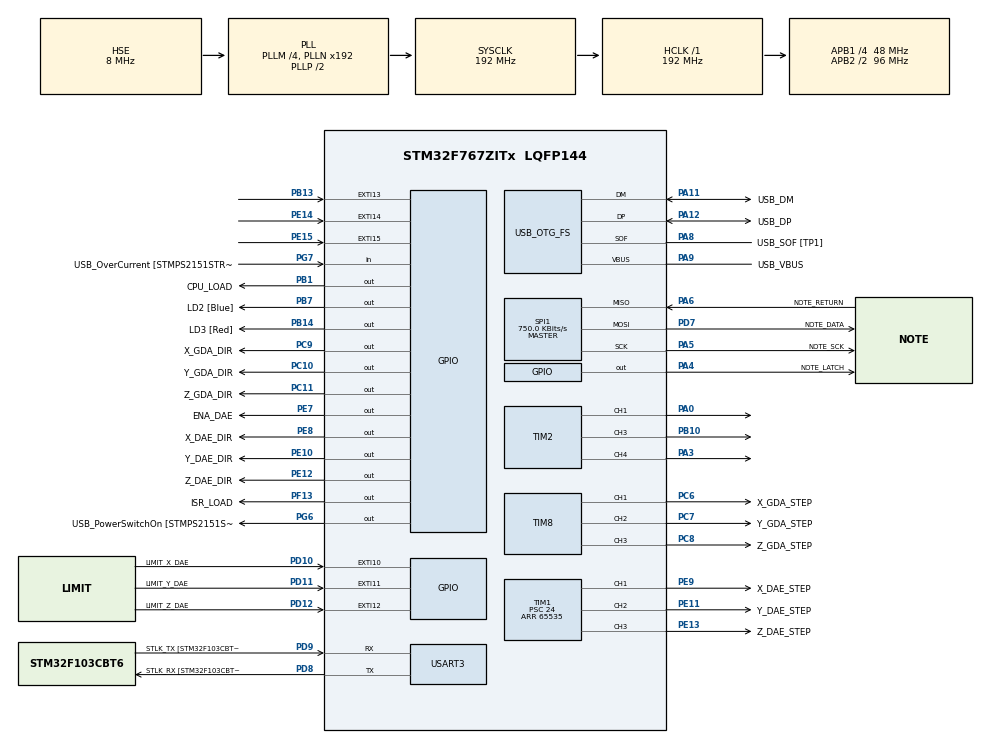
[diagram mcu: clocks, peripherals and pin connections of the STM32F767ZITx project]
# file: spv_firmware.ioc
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Mcu.Family=STM32F7
Mcu.Name=STM32F767ZITx
Mcu.Package=LQFP144
NVIC.EXTI15_10_IRQn=true\:0\:0\:false\:false\:true\:true\:true
NVIC.OTG_FS_IRQn=true\:0\:0\:false\:false\:true\:false\:true
NVIC.PriorityGroup=NVIC_PRIORITYGROUP_4
NVIC.TIM1_CC_IRQn=true\:0\:0\:false\:false\:true\:true\:true
NVIC.TIM1_UP_TIM10_IRQn=true\:0\:0\:false\:false\:true\:true\:true
PA0/WKUP.Signal=S_TIM2_CH1_ETR
PA1.GPIO_Label=RMII_REF_CLK [LAN8742A-CZ-TR_REFCLK0]
PA1.Signal=ETH_REF_CLK
PA10.GPIO_Label=USB_ID
PA10.Signal=USB_OTG_FS_ID
PA11.GPIO_Label=USB_DM
PA11.Mode=Device_Only
PA11.Signal=USB_OTG_FS_DM
PA12.GPIO_Label=USB_DP
PA12.Mode=Device_Only
PA12.Signal=USB_OTG_FS_DP
PA13.GPIO_Label=TMS
PA13.Mode=Serial_Wire
PA13.Signal=SYS_JTMS-SWDIO
PA14.GPIO_Label=TCK
PA14.Mode=Serial_Wire
PA14.Signal=SYS_JTCK-SWCLK
PA2.GPIO_Label=RMII_MDIO [LAN8742A-CZ-TR_MDIO]
PA2.Signal=ETH_MDIO
PA3.Signal=S_TIM2_CH4
PA4.GPIO_Label=NOTE_LATCH
PA4.Signal=GPIO_Output
PA5.GPIO_Label=NOTE_SCK
PA5.GPIO_Speed=GPIO_SPEED_FREQ_MEDIUM
PA5.Mode=Full_Duplex_Master
PA5.Signal=SPI1_SCK
PA6.GPIO_Label=NOTE_RETURN
PA6.GPIO_Speed=GPIO_SPEED_FREQ_MEDIUM
PA6.Mode=Full_Duplex_Master
PA6.Signal=SPI1_MISO
PA7.GPIO_Label=RMII_CRS_DV [LAN8742A-CZ-TR_CRS_DV]
PA7.Signal=ETH_CRS_DV
PA8.GPIO_Label=USB_SOF [TP1]
PA8.Mode=Activate_SOF_FS
PA8.Signal=USB_OTG_FS_SOF
PA9.GPIO_Label=USB_VBUS
PA9.Mode=Activate_VBUS
PA9.Signal=USB_OTG_FS_VBUS
PB1.GPIO_Label=CPU_LOAD
PB1.Signal=GPIO_Output
PB10.Signal=S_TIM2_CH3
PB13.Signal=GPXTI13
PB14.GPIO_Label=LD3 [Red]
PB14.Signal=GPIO_Output
PB3.GPIO_Label=SWO
PB3.Signal=SYS_JTDO-SWO
PB7.GPIO_Label=LD2 [Blue]
PB7.Signal=GPIO_Output
PC1.GPIO_Label=RMII_MDC [LAN8742A-CZ-TR_MDC]
PC1.Signal=ETH_MDC
PC10.GPIO_Label=Y_GDA_DIR
PC10.Signal=GPIO_Output
PC11.GPIO_Label=Z_GDA_DIR
PC11.Signal=GPIO_Output
PC14/OSC32_IN.Mode=LSE-External-Oscillator
PC14/OSC32_IN.Signal=RCC_OSC32_IN
PC15/OSC32_OUT.Mode=LSE-External-Oscillator
PC15/OSC32_OUT.Signal=RCC_OSC32_OUT
PC4.GPIO_Label=RMII_RXD0 [LAN8742A-CZ-TR_RXD0]
PC4.Signal=ETH_RXD0
PC5.GPIO_Label=RMII_RXD1 [LAN8742A-CZ-TR_RXD1]
PC5.Signal=ETH_RXD1
PC6.GPIO_Label=X_GDA_STEP
PC6.Signal=S_TIM8_CH1
PC7.GPIO_Label=Y_GDA_STEP
PC7.Signal=S_TIM8_CH2
PC8.GPIO_Label=Z_GDA_STEP
PC8.Signal=S_TIM8_CH3
PC9.GPIO_Label=X_GDA_DIR
PC9.Signal=GPIO_Output
PD10.GPIO_Label=LIMIT_X_DAE
PD10.GPIO_ModeDefaultEXTI=GPIO_MODE_IT_FALLING
PD10.Signal=GPXTI10
PD11.GPIO_Label=LIMIT_Y_DAE
PD11.GPIO_ModeDefaultEXTI=GPIO_MODE_IT_FALLING
PD11.Signal=GPXTI11
PD12.GPIO_Label=LIMIT_Z_DAE
PD12.GPIO_ModeDefaultEXTI=GPIO_MODE_IT_FALLING
PD12.Signal=GPXTI12
PD7.GPIO_Label=NOTE_DATA
PD7.GPIO_Speed=GPIO_SPEED_FREQ_MEDIUM
PD7.Mode=Full_Duplex_Master
PD7.Signal=SPI1_MOSI
PD8.GPIO_Label=STLK_RX [STM32F103CBT6_PA3]
PD8.GPIO_Speed=GPIO_SPEED_FREQ_MEDIUM
PD8.Mode=Asynchronous
PD8.Signal=USART3_TX
PD9.GPIO_Label=STLK_TX [STM32F103CBT6_PA2]
PD9.GPIO_Speed=GPIO_SPEED_FREQ_MEDIUM
PD9.Mode=Asynchronous
PD9.Signal=USART3_RX
PE10.GPIO_Label=Y_DAE_DIR
PE10.GPIO_Speed=GPIO_SPEED_FREQ_MEDIUM
PE10.Signal=GPIO_Output
PE11.GPIO_Label=Y_DAE_STEP
PE11.GPIO_Speed=GPIO_SPEED_FREQ_MEDIUM
PE11.Signal=S_TIM1_CH2
PE12.GPIO_Label=Z_DAE_DIR
PE12.Signal=GPIO_Output
PE13.GPIO_Label=Z_DAE_STEP
PE13.GPIO_Speed=GPIO_SPEED_FREQ_MEDIUM
PE13.Signal=S_TIM1_CH3
PE14.Signal=GPXTI14
PE15.Signal=GPXTI15
PE7.GPIO_Label=ENA_DAE
PE7.Signal=GPIO_Output
PE8.GPIO_Label=X_DAE_DIR
PE8.GPIO_Speed=GPIO_SPEED_FREQ_MEDIUM
PE8.Signal=GPIO_Output
PE9.GPIO_Label=X_DAE_STEP
PE9.GPIO_Speed=GPIO_SPEED_FREQ_MEDIUM
PE9.Signal=S_TIM1_CH1
PF13.GPIO_Label=ISR_LOAD
PF13.Signal=GPIO_Output
PG11.GPIO_Label=RMII_TX_EN [LAN8742A-CZ-TR_TXEN]
PG11.Signal=ETH_TX_EN
PG13.GPIO_Label=RMII_TXD0 [LAN8742A-CZ-TR_TXD0]
PG13.Signal=ETH_TXD0
PG6.GPIO_Label=USB_PowerSwitchOn [STMPS2151STR_EN]
PG6.Signal=GPIO_Output
PG7.GPIO_Label=USB_OverCurrent [STMPS2151STR_FAULT]
PG7.Signal=GPIO_Input
PH0/OSC_IN.GPIO_Label=MCO [STM32F103CBT6_PA8]
PH0/OSC_IN.Mode=HSE-External-Clock-Source
PH0/OSC_IN.Signal=RCC_OSC_IN
PH1/OSC_OUT.Mode=HSE-External-Clock-Source
PH1/OSC_OUT.Signal=RCC_OSC_OUT
ProjectManager.HeapSize=0x200
ProjectManager.StackSize=0x400
ProjectManager.TargetToolchain=TrueSTUDIO
RCC.48MHZClocksFreq_Value=24000000
RCC.AHBFreq_Value=192000000
RCC.APB1CLKDivider=RCC_HCLK_DIV4
RCC.APB1Freq_Value=48000000
RCC.APB1TimFreq_Value=96000000
RCC.APB2CLKDivider=RCC_HCLK_DIV2
RCC.APB2Freq_Value=96000000
RCC.APB2TimFreq_Value=192000000
RCC.CortexFreq_Value=192000000
RCC.HCLKFreq_Value=192000000
RCC.HSE_VALUE=8000000
RCC.HSI_VALUE=16000000
RCC.PLLM=4
RCC.PLLMUL=RCC_PLL_MUL9
RCC.PLLQ=8
RCC.PRESCALERUSB=RCC_USBCLKSOURCE_PLL_DIV1_5
RCC.SYSCLKFreq_VALUE=192000000
RCC.SYSCLKSource=RCC_SYSCLKSOURCE_PLLCLK
RCC.SYSCLKSourceVirtual=RCC_SYSCLKSOURCE_PLLCLK
RCC.USBFreq_Value=48000000
RCC.VCOOutputFreq_Value=384000000
SH.S_TIM1_CH1.0=TIM1_CH1,Output Compare1 CH1
SH.S_TIM1_CH2.0=TIM1_CH2,Output Compare2 CH2
SH.S_TIM1_CH3.0=TIM1_CH3,Output Compare3 CH3
SH.S_TIM2_CH1_ETR.0=TIM2_CH1,Output Compare1 CH1
SH.S_TIM2_CH3.0=TIM2_CH3,Output Compare3 CH3
SH.S_TIM2_CH4.0=TIM2_CH4,Output Compare4 CH4
SH.S_TIM8_CH1.0=TIM8_CH1,Output Compare1 CH1
SH.S_TIM8_CH2.0=TIM8_CH2,Output Compare2 CH2
SH.S_TIM8_CH3.0=TIM8_CH3,Output Compare3 CH3
SPI1.BaudRatePrescaler=SPI_BAUDRATEPRESCALER_128
SPI1.CalculateBaudRate=750.0 KBits/s
SPI1.DataSize=SPI_DATASIZE_8BIT
SPI1.Direction=SPI_DIRECTION_2LINES
SPI1.Mode=SPI_MODE_MASTER
SPI1.VirtualType=VM_MASTER
TIM1.Channel-Output\ Compare1\ CH1=TIM_CHANNEL_1
TIM1.Channel-Output\ Compare2\ CH2=TIM_CHANNEL_2
TIM1.Channel-Output\ Compare3\ CH3=TIM_CHANNEL_3
TIM1.OCMode_1=TIM_OCMODE_FORCED_INACTIVE
TIM1.OCMode_2=TIM_OCMODE_FORCED_INACTIVE
TIM1.OCMode_3=TIM_OCMODE_FORCED_INACTIVE
TIM1.OCPolarity_1=TIM_OCPOLARITY_HIGH
TIM1.Period=65535
TIM1.Prescaler=24
TIM1.Pulse-Output\ Compare1\ CH1=1
TIM1.Pulse-Output\ Compare2\ CH2=1
TIM1.Pulse-Output\ Compare3\ CH3=1
TIM10.AutoReloadPreload=TIM_AUTORELOAD_PRELOAD_ENABLE
TIM10.Period=1000
TIM10.Prescaler=192
TIM2.Channel-Output\ Compare1\ CH1=TIM_CHANNEL_1
TIM2.Channel-Output\ Compare3\ CH3=TIM_CHANNEL_3
TIM2.Channel-Output\ Compare4\ CH4=TIM_CHANNEL_4
TIM8.Channel-Output\ Compare1\ CH1=TIM_CHANNEL_1
TIM8.Channel-Output\ Compare2\ CH2=TIM_CHANNEL_2
TIM8.Channel-Output\ Compare3\ CH3=TIM_CHANNEL_3
USART3.VirtualMode-Asynchronous=VM_ASYNC
USB_DEVICE.APP_RX_DATA_SIZE-CDC_FS=128
USB_DEVICE.CLASS_NAME_FS=CDC
USB_DEVICE.MANUFACTURER_STRING-CDC_FS=SPV group
USB_DEVICE.PRODUCT_STRING_CDC_FS=Self-playing violin
USB_DEVICE.VirtualMode-CDC_FS=Cdc
USB_DEVICE.VirtualModeFS=Cdc_FS
USB_OTG_FS.VirtualMode=Device_Only
VP_TIM10_VS_ClockSourceINT.Mode=Enable_Timer
VP_TIM1_VS_ClockSourceINT.Mode=Internal
VP_USB_DEVICE_VS_USB_DEVICE_CDC_FS.Mode=CDC_FS
board=NUCLEO-F767ZI

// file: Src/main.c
/* USER CODE BEGIN Header */
/**
 *
 *  @file main.c
 *  @brief main program of selfplaying-violin project
 *
 *  Be careful: This file is generated by CubeMX, so in case
 *  of recreation all changes which are not between USER CODE
 *  markers will be deleted!
 *
 *  @author SPV Team
	@date March 19th, 2019

  ******************************************************************************
  * @file           : main.c
  * @brief          : Main program body
  ******************************************************************************
  * @attention
  *
  * <h2><center>&copy; Copyright (c) 2019 STMicroelectronics.
  * All rights reserved.</center></h2>
  *
  * This software component is licensed by ST under Ultimate Liberty license
  * SLA0044, the "License"; You may not use this file except in compliance with
  * the License. You may obtain a copy of the License at:
  *                             www.st.com/SLA0044
  *
  ******************************************************************************
  */
/* USER CODE END Header */

#include "main.h"
#include "usb_device.h"

/* USER CODE BEGIN Includes */
#include <string.h>
#include <stdio.h>
#include "usb_cdc_comm.h"
#include "debug_tools.h"
#include "step_generation.h"
#include "motor_control.h"
#include "notes.h"
#include "channels.h"
#include "timekeeper.h"
#include <math.h>
#include "communication.h"

/* USER CODE END Includes */

SPI_HandleTypeDef hspi1;

TIM_HandleTypeDef htim1;
TIM_HandleTypeDef htim2;
TIM_HandleTypeDef htim8;
TIM_HandleTypeDef htim10;

UART_HandleTypeDef huart3;

void SystemClock_Config(void);
static void MX_GPIO_Init(void);
static void MX_TIM1_Init(void);
static void MX_USART3_UART_Init(void);
static void MX_SPI1_Init(void);
static void MX_GFXSIMULATOR_Init(void);
static void MX_TIM8_Init(void);
static void MX_TIM2_Init(void);
static void MX_TIM10_Init(void);

int main(void)
{

  /* MCU Configuration--------------------------------------------------------*/

  /* Reset of all peripherals, Initializes the Flash interface and the Systick. */
  HAL_Init();

  /* Configure the system clock */
  SystemClock_Config();

  /* Initialize all configured peripherals */
  MX_GPIO_Init();
  MX_TIM1_Init();
  MX_USART3_UART_Init();
  MX_USB_DEVICE_Init();
  MX_SPI1_Init();
  MX_GFXSIMULATOR_Init();
  MX_TIM8_Init();
  MX_TIM2_Init();
  MX_TIM10_Init();
  /* USER CODE BEGIN 2 */

  /*
   * Put all sorts of user inits here
   */

  USB_CDC_Init();

  //debug_start_motor_tracking();

  TK_startTimer();

  CHA_Init();

  SM_Init();

  notes_init();

  dbgprintf("SPV ready and initialized.");

  /* USER CODE END 2 */

  /* Infinite loop */
  /* USER CODE BEGIN WHILE */
  //int32_t wait_delay = 0;
  int32_t run1 = 0, run2 = 0, run3 = 0;
  while (1)
  {

	  run1 |= SM_updateMotor(&x_dae_motor, &cha_posx_dae);
	  run2 |= SM_updateMotor(&y_dae_motor, &cha_posy_dae);
	  run3 |= SM_updateMotor(&z_dae_motor, &cha_str_dae);

	  COM_update();

	  //toggle_debug_led();
	  //notes_e_set(cycle_number%8, 1);

	  if (run1 != 0 && run2 != 0 && run3 != 0)
	  {
		 /* run1 = 0;
		  run2 = 0;
		  run3 = 0;
		  for (wait_delay=0; wait_delay < 2000; wait_delay++)
		  {
			  HAL_Delay(1);
		  }
		  notes_init();
		  SM_restart_testcylce();
		  wait_delay = 0;*/
	  }

	  // Update debug transmit values
	  //debug_transmit_motor_tracking_data();

    /* USER CODE END WHILE */

  }
}

void SystemClock_Config(void)
{
  RCC_OscInitTypeDef RCC_OscInitStruct = {0};
  RCC_ClkInitTypeDef RCC_ClkInitStruct = {0};
  RCC_PeriphCLKInitTypeDef PeriphClkInitStruct = {0};

  /** Configure LSE Drive Capability
  */
  HAL_PWR_EnableBkUpAccess();
  /** Configure the main internal regulator output voltage
  */
  __HAL_RCC_PWR_CLK_ENABLE();
  __HAL_PWR_VOLTAGESCALING_CONFIG(PWR_REGULATOR_VOLTAGE_SCALE1);
  /** Initializes the CPU, AHB and APB busses clocks
  */
  RCC_OscInitStruct.OscillatorType = RCC_OSCILLATORTYPE_HSE;
  RCC_OscInitStruct.HSEState = RCC_HSE_BYPASS;
  RCC_OscInitStruct.PLL.PLLState = RCC_PLL_ON;
  RCC_OscInitStruct.PLL.PLLSource = RCC_PLLSOURCE_HSE;
  RCC_OscInitStruct.PLL.PLLM = 4;
  RCC_OscInitStruct.PLL.PLLN = 192;
  RCC_OscInitStruct.PLL.PLLP = RCC_PLLP_DIV2;
  RCC_OscInitStruct.PLL.PLLQ = 8;
  if (HAL_RCC_OscConfig(&RCC_OscInitStruct) != HAL_OK)
  {
    Error_Handler();
  }
  /** Activate the Over-Drive mode
  */
  if (HAL_PWREx_EnableOverDrive() != HAL_OK)
  {
    Error_Handler();
  }
  /** Initializes the CPU, AHB and APB busses clocks
  */
  RCC_ClkInitStruct.ClockType = RCC_CLOCKTYPE_HCLK|RCC_CLOCKTYPE_SYSCLK
                              |RCC_CLOCKTYPE_PCLK1|RCC_CLOCKTYPE_PCLK2;
  RCC_ClkInitStruct.SYSCLKSource = RCC_SYSCLKSOURCE_PLLCLK;
  RCC_ClkInitStruct.AHBCLKDivider = RCC_SYSCLK_DIV1;
  RCC_ClkInitStruct.APB1CLKDivider = RCC_HCLK_DIV4;
  RCC_ClkInitStruct.APB2CLKDivider = RCC_HCLK_DIV2;

  if (HAL_RCC_ClockConfig(&RCC_ClkInitStruct, FLASH_LATENCY_6) != HAL_OK)
  {
    Error_Handler();
  }
  PeriphClkInitStruct.PeriphClockSelection = RCC_PERIPHCLK_USART3|RCC_PERIPHCLK_CLK48;
  PeriphClkInitStruct.Usart3ClockSelection = RCC_USART3CLKSOURCE_PCLK1;
  PeriphClkInitStruct.Clk48ClockSelection = RCC_CLK48SOURCE_PLL;
  if (HAL_RCCEx_PeriphCLKConfig(&PeriphClkInitStruct) != HAL_OK)
  {
    Error_Handler();
  }
}

static void MX_GFXSIMULATOR_Init(void)
{

}

static void MX_SPI1_Init(void)
{

  /* SPI1 parameter configuration*/
  hspi1.Instance = SPI1;
  hspi1.Init.Mode = SPI_MODE_MASTER;
  hspi1.Init.Direction = SPI_DIRECTION_2LINES;
  hspi1.Init.DataSize = SPI_DATASIZE_8BIT;
  hspi1.Init.CLKPolarity = SPI_POLARITY_LOW;
  hspi1.Init.CLKPhase = SPI_PHASE_1EDGE;
  hspi1.Init.NSS = SPI_NSS_SOFT;
  hspi1.Init.BaudRatePrescaler = SPI_BAUDRATEPRESCALER_128;
  hspi1.Init.FirstBit = SPI_FIRSTBIT_MSB;
  hspi1.Init.TIMode = SPI_TIMODE_DISABLE;
  hspi1.Init.CRCCalculation = SPI_CRCCALCULATION_DISABLE;
  hspi1.Init.CRCPolynomial = 7;
  hspi1.Init.CRCLength = SPI_CRC_LENGTH_DATASIZE;
  hspi1.Init.NSSPMode = SPI_NSS_PULSE_ENABLE;
  if (HAL_SPI_Init(&hspi1) != HAL_OK)
  {
    Error_Handler();
  }

}

static void MX_TIM1_Init(void)
{

  TIM_ClockConfigTypeDef sClockSourceConfig = {0};
  TIM_MasterConfigTypeDef sMasterConfig = {0};
  TIM_OC_InitTypeDef sConfigOC = {0};
  TIM_BreakDeadTimeConfigTypeDef sBreakDeadTimeConfig = {0};

  htim1.Instance = TIM1;
  htim1.Init.Prescaler = 24;
  htim1.Init.CounterMode = TIM_COUNTERMODE_UP;
  htim1.Init.Period = 65535;
  htim1.Init.ClockDivision = TIM_CLOCKDIVISION_DIV1;
  htim1.Init.RepetitionCounter = 0;
  htim1.Init.AutoReloadPreload = TIM_AUTORELOAD_PRELOAD_DISABLE;
  if (HAL_TIM_Base_Init(&htim1) != HAL_OK)
  {
    Error_Handler();
  }
  sClockSourceConfig.ClockSource = TIM_CLOCKSOURCE_INTERNAL;
  if (HAL_TIM_ConfigClockSource(&htim1, &sClockSourceConfig) != HAL_OK)
  {
    Error_Handler();
  }
  if (HAL_TIM_OC_Init(&htim1) != HAL_OK)
  {
    Error_Handler();
  }
  sMasterConfig.MasterOutputTrigger = TIM_TRGO_RESET;
  sMasterConfig.MasterOutputTrigger2 = TIM_TRGO2_RESET;
  sMasterConfig.MasterSlaveMode = TIM_MASTERSLAVEMODE_DISABLE;
  if (HAL_TIMEx_MasterConfigSynchronization(&htim1, &sMasterConfig) != HAL_OK)
  {
    Error_Handler();
  }
  sConfigOC.OCMode = TIM_OCMODE_FORCED_INACTIVE;
  sConfigOC.Pulse = 1;
  sConfigOC.OCPolarity = TIM_OCPOLARITY_HIGH;
  sConfigOC.OCNPolarity = TIM_OCNPOLARITY_HIGH;
  sConfigOC.OCFastMode = TIM_OCFAST_DISABLE;
  sConfigOC.OCIdleState = TIM_OCIDLESTATE_RESET;
  sConfigOC.OCNIdleState = TIM_OCNIDLESTATE_RESET;
  if (HAL_TIM_OC_ConfigChannel(&htim1, &sConfigOC, TIM_CHANNEL_1) != HAL_OK)
  {
    Error_Handler();
  }
  if (HAL_TIM_OC_ConfigChannel(&htim1, &sConfigOC, TIM_CHANNEL_2) != HAL_OK)
  {
    Error_Handler();
  }
  if (HAL_TIM_OC_ConfigChannel(&htim1, &sConfigOC, TIM_CHANNEL_3) != HAL_OK)
  {
    Error_Handler();
  }
  sBreakDeadTimeConfig.OffStateRunMode = TIM_OSSR_DISABLE;
  sBreakDeadTimeConfig.OffStateIDLEMode = TIM_OSSI_DISABLE;
  sBreakDeadTimeConfig.LockLevel = TIM_LOCKLEVEL_OFF;
  sBreakDeadTimeConfig.DeadTime = 0;
  sBreakDeadTimeConfig.BreakState = TIM_BREAK_DISABLE;
  sBreakDeadTimeConfig.BreakPolarity = TIM_BREAKPOLARITY_HIGH;
  sBreakDeadTimeConfig.BreakFilter = 0;
  sBreakDeadTimeConfig.Break2State = TIM_BREAK2_DISABLE;
  sBreakDeadTimeConfig.Break2Polarity = TIM_BREAK2POLARITY_HIGH;
  sBreakDeadTimeConfig.Break2Filter = 0;
  sBreakDeadTimeConfig.AutomaticOutput = TIM_AUTOMATICOUTPUT_DISABLE;
  if (HAL_TIMEx_ConfigBreakDeadTime(&htim1, &sBreakDeadTimeConfig) != HAL_OK)
  {
    Error_Handler();
  }
  HAL_TIM_MspPostInit(&htim1);

}

static void MX_TIM2_Init(void)
{

  TIM_MasterConfigTypeDef sMasterConfig = {0};
  TIM_OC_InitTypeDef sConfigOC = {0};

  htim2.Instance = TIM2;
  htim2.Init.Prescaler = 0;
  htim2.Init.CounterMode = TIM_COUNTERMODE_UP;
  htim2.Init.Period = 0;
  htim2.Init.ClockDivision = TIM_CLOCKDIVISION_DIV1;
  htim2.Init.AutoReloadPreload = TIM_AUTORELOAD_PRELOAD_DISABLE;
  if (HAL_TIM_OC_Init(&htim2) != HAL_OK)
  {
    Error_Handler();
  }
  sMasterConfig.MasterOutputTrigger = TIM_TRGO_RESET;
  sMasterConfig.MasterSlaveMode = TIM_MASTERSLAVEMODE_DISABLE;
  if (HAL_TIMEx_MasterConfigSynchronization(&htim2, &sMasterConfig) != HAL_OK)
  {
    Error_Handler();
  }
  sConfigOC.OCMode = TIM_OCMODE_TIMING;
  sConfigOC.Pulse = 0;
  sConfigOC.OCPolarity = TIM_OCPOLARITY_HIGH;
  sConfigOC.OCFastMode = TIM_OCFAST_DISABLE;
  if (HAL_TIM_OC_ConfigChannel(&htim2, &sConfigOC, TIM_CHANNEL_1) != HAL_OK)
  {
    Error_Handler();
  }
  if (HAL_TIM_OC_ConfigChannel(&htim2, &sConfigOC, TIM_CHANNEL_3) != HAL_OK)
  {
    Error_Handler();
  }
  if (HAL_TIM_OC_ConfigChannel(&htim2, &sConfigOC, TIM_CHANNEL_4) != HAL_OK)
  {
    Error_Handler();
  }
  HAL_TIM_MspPostInit(&htim2);

}

static void MX_TIM8_Init(void)
{

  TIM_MasterConfigTypeDef sMasterConfig = {0};
  TIM_OC_InitTypeDef sConfigOC = {0};
  TIM_BreakDeadTimeConfigTypeDef sBreakDeadTimeConfig = {0};

  htim8.Instance = TIM8;
  htim8.Init.Prescaler = 0;
  htim8.Init.CounterMode = TIM_COUNTERMODE_UP;
  htim8.Init.Period = 0;
  htim8.Init.ClockDivision = TIM_CLOCKDIVISION_DIV1;
  htim8.Init.RepetitionCounter = 0;
  htim8.Init.AutoReloadPreload = TIM_AUTORELOAD_PRELOAD_DISABLE;
  if (HAL_TIM_OC_Init(&htim8) != HAL_OK)
  {
    Error_Handler();
  }
  sMasterConfig.MasterOutputTrigger = TIM_TRGO_RESET;
  sMasterConfig.MasterOutputTrigger2 = TIM_TRGO2_RESET;
  sMasterConfig.MasterSlaveMode = TIM_MASTERSLAVEMODE_DISABLE;
  if (HAL_TIMEx_MasterConfigSynchronization(&htim8, &sMasterConfig) != HAL_OK)
  {
    Error_Handler();
  }
  sConfigOC.OCMode = TIM_OCMODE_TIMING;
  sConfigOC.Pulse = 0;
  sConfigOC.OCPolarity = TIM_OCPOLARITY_HIGH;
  sConfigOC.OCNPolarity = TIM_OCNPOLARITY_HIGH;
  sConfigOC.OCFastMode = TIM_OCFAST_DISABLE;
  sConfigOC.OCIdleState = TIM_OCIDLESTATE_RESET;
  sConfigOC.OCNIdleState = TIM_OCNIDLESTATE_RESET;
  if (HAL_TIM_OC_ConfigChannel(&htim8, &sConfigOC, TIM_CHANNEL_1) != HAL_OK)
  {
    Error_Handler();
  }
  if (HAL_TIM_OC_ConfigChannel(&htim8, &sConfigOC, TIM_CHANNEL_2) != HAL_OK)
  {
    Error_Handler();
  }
  if (HAL_TIM_OC_ConfigChannel(&htim8, &sConfigOC, TIM_CHANNEL_3) != HAL_OK)
  {
    Error_Handler();
  }
  sBreakDeadTimeConfig.OffStateRunMode = TIM_OSSR_DISABLE;
  sBreakDeadTimeConfig.OffStateIDLEMode = TIM_OSSI_DISABLE;
  sBreakDeadTimeConfig.LockLevel = TIM_LOCKLEVEL_OFF;
  sBreakDeadTimeConfig.DeadTime = 0;
  sBreakDeadTimeConfig.BreakState = TIM_BREAK_DISABLE;
  sBreakDeadTimeConfig.BreakPolarity = TIM_BREAKPOLARITY_HIGH;
  sBreakDeadTimeConfig.BreakFilter = 0;
  sBreakDeadTimeConfig.Break2State = TIM_BREAK2_DISABLE;
  sBreakDeadTimeConfig.Break2Polarity = TIM_BREAK2POLARITY_HIGH;
  sBreakDeadTimeConfig.Break2Filter = 0;
  sBreakDeadTimeConfig.AutomaticOutput = TIM_AUTOMATICOUTPUT_DISABLE;
  if (HAL_TIMEx_ConfigBreakDeadTime(&htim8, &sBreakDeadTimeConfig) != HAL_OK)
  {
    Error_Handler();
  }
  HAL_TIM_MspPostInit(&htim8);

}

static void MX_TIM10_Init(void)
{

  htim10.Instance = TIM10;
  htim10.Init.Prescaler = 192;
  htim10.Init.CounterMode = TIM_COUNTERMODE_UP;
  htim10.Init.Period = 1000;
  htim10.Init.ClockDivision = TIM_CLOCKDIVISION_DIV1;
  htim10.Init.AutoReloadPreload = TIM_AUTORELOAD_PRELOAD_ENABLE;
  if (HAL_TIM_Base_Init(&htim10) != HAL_OK)
  {
    Error_Handler();
  }

}

static void MX_USART3_UART_Init(void)
{

  huart3.Instance = USART3;
  huart3.Init.BaudRate = 115200;
  huart3.Init.WordLength = UART_WORDLENGTH_8B;
  huart3.Init.StopBits = UART_STOPBITS_1;
  huart3.Init.Parity = UART_PARITY_NONE;
  huart3.Init.Mode = UART_MODE_TX_RX;
  huart3.Init.HwFlowCtl = UART_HWCONTROL_NONE;
  huart3.Init.OverSampling = UART_OVERSAMPLING_16;
  huart3.Init.OneBitSampling = UART_ONE_BIT_SAMPLE_DISABLE;
  huart3.AdvancedInit.AdvFeatureInit = UART_ADVFEATURE_NO_INIT;
  if (HAL_UART_Init(&huart3) != HAL_OK)
  {
    Error_Handler();
  }

}

static void MX_GPIO_Init(void)
{
  GPIO_InitTypeDef GPIO_InitStruct = {0};

  /* GPIO Ports Clock Enable */
  __HAL_RCC_GPIOC_CLK_ENABLE();
  __HAL_RCC_GPIOH_CLK_ENABLE();
  __HAL_RCC_GPIOA_CLK_ENABLE();
  __HAL_RCC_GPIOB_CLK_ENABLE();
  __HAL_RCC_GPIOF_CLK_ENABLE();
  __HAL_RCC_GPIOE_CLK_ENABLE();
  __HAL_RCC_GPIOD_CLK_ENABLE();
  __HAL_RCC_GPIOG_CLK_ENABLE();

  /*Configure GPIO pin Output Level */
  HAL_GPIO_WritePin(NOTE_LATCH_GPIO_Port, NOTE_LATCH_Pin, GPIO_PIN_RESET);

  /*Configure GPIO pin Output Level */
  HAL_GPIO_WritePin(GPIOB, CPU_LOAD_Pin|LD3_Pin|LD2_Pin, GPIO_PIN_RESET);

  /*Configure GPIO pin Output Level */
  HAL_GPIO_WritePin(ISR_LOAD_GPIO_Port, ISR_LOAD_Pin, GPIO_PIN_RESET);

  /*Configure GPIO pin Output Level */
  HAL_GPIO_WritePin(GPIOE, ENA_DAE_Pin|X_DAE_DIR_Pin|Y_DAE_DIR_Pin|Z_DAE_DIR_Pin, GPIO_PIN_RESET);

  /*Configure GPIO pin Output Level */
  HAL_GPIO_WritePin(USB_PowerSwitchOn_GPIO_Port, USB_PowerSwitchOn_Pin, GPIO_PIN_RESET);

  /*Configure GPIO pin Output Level */
  HAL_GPIO_WritePin(GPIOC, X_GDA_DIR_Pin|Y_GDA_DIR_Pin|Z_GDA_DIR_Pin, GPIO_PIN_RESET);

  /*Configure GPIO pins : RMII_MDC_Pin RMII_RXD0_Pin RMII_RXD1_Pin */
  GPIO_InitStruct.Pin = RMII_MDC_Pin|RMII_RXD0_Pin|RMII_RXD1_Pin;
  GPIO_InitStruct.Mode = GPIO_MODE_AF_PP;
  GPIO_InitStruct.Pull = GPIO_NOPULL;
  GPIO_InitStruct.Speed = GPIO_SPEED_FREQ_VERY_HIGH;
  GPIO_InitStruct.Alternate = GPIO_AF11_ETH;
  HAL_GPIO_Init(GPIOC, &GPIO_InitStruct);

  /*Configure GPIO pins : RMII_REF_CLK_Pin RMII_MDIO_Pin RMII_CRS_DV_Pin */
  GPIO_InitStruct.Pin = RMII_REF_CLK_Pin|RMII_MDIO_Pin|RMII_CRS_DV_Pin;
  GPIO_InitStruct.Mode = GPIO_MODE_AF_PP;
  GPIO_InitStruct.Pull = GPIO_NOPULL;
  GPIO_InitStruct.Speed = GPIO_SPEED_FREQ_VERY_HIGH;
  GPIO_InitStruct.Alternate = GPIO_AF11_ETH;
  HAL_GPIO_Init(GPIOA, &GPIO_InitStruct);

  /*Configure GPIO pin : NOTE_LATCH_Pin */
  GPIO_InitStruct.Pin = NOTE_LATCH_Pin;
  GPIO_InitStruct.Mode = GPIO_MODE_OUTPUT_PP;
  GPIO_InitStruct.Pull = GPIO_NOPULL;
  GPIO_InitStruct.Speed = GPIO_SPEED_FREQ_LOW;
  HAL_GPIO_Init(NOTE_LATCH_GPIO_Port, &GPIO_InitStruct);

  /*Configure GPIO pins : CPU_LOAD_Pin LD3_Pin LD2_Pin */
  GPIO_InitStruct.Pin = CPU_LOAD_Pin|LD3_Pin|LD2_Pin;
  GPIO_InitStruct.Mode = GPIO_MODE_OUTPUT_PP;
  GPIO_InitStruct.Pull = GPIO_NOPULL;
  GPIO_InitStruct.Speed = GPIO_SPEED_FREQ_LOW;
  HAL_GPIO_Init(GPIOB, &GPIO_InitStruct);

  /*Configure GPIO pin : ISR_LOAD_Pin */
  GPIO_InitStruct.Pin = ISR_LOAD_Pin;
  GPIO_InitStruct.Mode = GPIO_MODE_OUTPUT_PP;
  GPIO_InitStruct.Pull = GPIO_NOPULL;
  GPIO_InitStruct.Speed = GPIO_SPEED_FREQ_LOW;
  HAL_GPIO_Init(ISR_LOAD_GPIO_Port, &GPIO_InitStruct);

  /*Configure GPIO pins : ENA_DAE_Pin Z_DAE_DIR_Pin */
  GPIO_InitStruct.Pin = ENA_DAE_Pin|Z_DAE_DIR_Pin;
  GPIO_InitStruct.Mode = GPIO_MODE_OUTPUT_PP;
  GPIO_InitStruct.Pull = GPIO_NOPULL;
  GPIO_InitStruct.Speed = GPIO_SPEED_FREQ_LOW;
  HAL_GPIO_Init(GPIOE, &GPIO_InitStruct);

  /*Configure GPIO pins : X_DAE_DIR_Pin Y_DAE_DIR_Pin */
  GPIO_InitStruct.Pin = X_DAE_DIR_Pin|Y_DAE_DIR_Pin;
  GPIO_InitStruct.Mode = GPIO_MODE_OUTPUT_PP;
  GPIO_InitStruct.Pull = GPIO_NOPULL;
  GPIO_InitStruct.Speed = GPIO_SPEED_FREQ_MEDIUM;
  HAL_GPIO_Init(GPIOE, &GPIO_InitStruct);

  /*Configure GPIO pins : PE14 PE15 */
  GPIO_InitStruct.Pin = GPIO_PIN_14|GPIO_PIN_15;
  GPIO_InitStruct.Mode = GPIO_MODE_IT_RISING;
  GPIO_InitStruct.Pull = GPIO_NOPULL;
  HAL_GPIO_Init(GPIOE, &GPIO_InitStruct);

  /*Configure GPIO pin : PB13 */
  GPIO_InitStruct.Pin = GPIO_PIN_13;
  GPIO_InitStruct.Mode = GPIO_MODE_IT_RISING;
  GPIO_InitStruct.Pull = GPIO_NOPULL;
  HAL_GPIO_Init(GPIOB, &GPIO_InitStruct);

  /*Configure GPIO pins : LIMIT_X_DAE_Pin LIMIT_Y_DAE_Pin LIMIT_Z_DAE_Pin */
  GPIO_InitStruct.Pin = LIMIT_X_DAE_Pin|LIMIT_Y_DAE_Pin|LIMIT_Z_DAE_Pin;
  GPIO_InitStruct.Mode = GPIO_MODE_IT_FALLING;
  GPIO_InitStruct.Pull = GPIO_NOPULL;
  HAL_GPIO_Init(GPIOD, &GPIO_InitStruct);

  /*Configure GPIO pin : USB_PowerSwitchOn_Pin */
  GPIO_InitStruct.Pin = USB_PowerSwitchOn_Pin;
  GPIO_InitStruct.Mode = GPIO_MODE_OUTPUT_PP;
  GPIO_InitStruct.Pull = GPIO_NOPULL;
  GPIO_InitStruct.Speed = GPIO_SPEED_FREQ_LOW;
  HAL_GPIO_Init(USB_PowerSwitchOn_GPIO_Port, &GPIO_InitStruct);

  /*Configure GPIO pin : USB_OverCurrent_Pin */
  GPIO_InitStruct.Pin = USB_OverCurrent_Pin;
  GPIO_InitStruct.Mode = GPIO_MODE_INPUT;
  GPIO_InitStruct.Pull = GPIO_NOPULL;
  HAL_GPIO_Init(USB_OverCurrent_GPIO_Port, &GPIO_InitStruct);

  /*Configure GPIO pins : X_GDA_DIR_Pin Y_GDA_DIR_Pin Z_GDA_DIR_Pin */
  GPIO_InitStruct.Pin = X_GDA_DIR_Pin|Y_GDA_DIR_Pin|Z_GDA_DIR_Pin;
  GPIO_InitStruct.Mode = GPIO_MODE_OUTPUT_PP;
  GPIO_InitStruct.Pull = GPIO_NOPULL;
  GPIO_InitStruct.Speed = GPIO_SPEED_FREQ_LOW;
  HAL_GPIO_Init(GPIOC, &GPIO_InitStruct);

  /*Configure GPIO pins : RMII_TX_EN_Pin RMII_TXD0_Pin */
  GPIO_InitStruct.Pin = RMII_TX_EN_Pin|RMII_TXD0_Pin;
  GPIO_InitStruct.Mode = GPIO_MODE_AF_PP;
  GPIO_InitStruct.Pull = GPIO_NOPULL;
  GPIO_InitStruct.Speed = GPIO_SPEED_FREQ_VERY_HIGH;
  GPIO_InitStruct.Alternate = GPIO_AF11_ETH;
  HAL_GPIO_Init(GPIOG, &GPIO_InitStruct);

  /* EXTI interrupt init*/
  HAL_NVIC_SetPriority(EXTI15_10_IRQn, 0, 0);
  HAL_NVIC_EnableIRQ(EXTI15_10_IRQn);

}

void Error_Handler(void)
{
}

/************************ (C) COPYRIGHT STMicroelectronics *****END OF FILE****/
